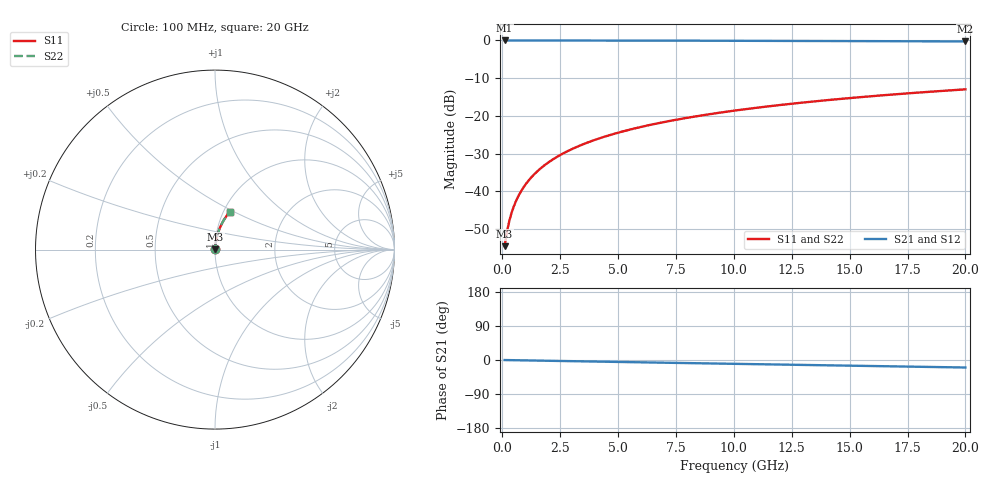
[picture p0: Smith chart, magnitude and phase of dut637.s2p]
! Touchstone file exported from HFSS 2026.1.0
!  File:  C:/ffzhzh/LocalFiles/Ansys_Project_Files/temp_train_BSMRDL_637_1783016706_46388.aedt
!  Generated:  02:26:34 AM Jul  3, 2026
!  Design:  BSMRDL
!  Project:  temp_train_BSMRDL_637_1783016706_46388
! Variables:
!  h_bsmrdl = 4.19um
!  h_ox = 20um
!  h_rdl = 5um
!  h_sub = 80um
!  h_tmrdl = 5um
!  h_tsv = 80um
!  h_via = 3um
!  l_bsmrdl = 234.82um
!  l_sub = 634.82um
!  l_tmrdl = 200um
!  m_sub = 200um
!  pitch = 47.25um
!  r_tsv = 6um
!  s_tmrdl = 10um
!  w_bsmrdl = 16.09um
!  w_sub = 500um
!  w_tmrdl = 12um
!  x_tsv_center1 = 206um
!  x_tsv_center2 = 456.91um
!  x_tsv_center3 = 668.91um
!  x_tsv_center4 = 919.82um
!  x_tsv_center5 = 1131.82um
!  x_tsv_center6 = 1382.73um
# GHz S MA R 50.000000
! Terminal data exported
! Port[1] = BSM_RDL1_1_T1
! Port[2] = BSM_RDL1_1_T2
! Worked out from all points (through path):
!   200 points, 100 MHz to 20 GHz, reference 50 ohm
!   highest |S21| = -0.01 dB at 100 MHz (marker M1); lowest = -0.3 dB at 20 GHz (marker M2)
!   group delay of S21, straight-line fit = 2.75 ps
!   lowest |S11| = -54.5 dB at 100 MHz (marker M3), VSWR 1.00, Z = 50.1 + j0.128 ohm
!   |S11| at or under -10 dB: start of sweep to end of sweep
!   |S22| runs from -54.5 to -13.0 dB; largest |S21 - S12| = 4.9e-15
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0.1  0.001881 42.6  0.9986 -0.1  0.9986 -0.1  0.001881 42.6
! Gamma 0 0 0 0
! Port Impedance 50 0 50 0
0.2  0.002901 60.4  0.9986 -0.2  0.9986 -0.2  0.002901 60.4
0.3  0.004031 68.3  0.9985 -0.3  0.9985 -0.3  0.004031 68.3
0.4  0.005189 72.7  0.9985 -0.4  0.9985 -0.4  0.005189 72.7
0.5  0.006361 75.5  0.9984 -0.5  0.9984 -0.5  0.006361 75.5
0.6  0.00754 77.5  0.9984 -0.6  0.9984 -0.6  0.00754 77.5
0.8  0.009916 79.9  0.9983 -0.8  0.9983 -0.8  0.009916 79.9
1.1  0.0135 81.9  0.9982 -1.1  0.9982 -1.1  0.0135 81.9
1.5  0.01831 83.1  0.9981 -1.6  0.9981 -1.6  0.01831 83.1
1.8  0.02191 83.5  0.998 -1.9  0.998 -1.9  0.02191 83.5
2.1  0.02551 83.7  0.9978 -2.2  0.9978 -2.2  0.02551 83.7
2.7  0.03269 83.7  0.9975 -2.8  0.9975 -2.8  0.03269 83.7
3.5  0.04222 83.4  0.9969 -3.6  0.9969 -3.6  0.04222 83.4
4.2  0.0505 82.9  0.9963 -4.3  0.9963 -4.3  0.0505 82.9
5  0.0599 82.3  0.9955 -5.1  0.9955 -5.1  0.0599 82.3
5.9  0.07039 81.6  0.9946 -6.0  0.9946 -6.0  0.07039 81.6
6.8  0.0808 80.8  0.9935 -6.9  0.9935 -6.9  0.0808 80.8
8.3  0.09798 79.4  0.9915 -8.4  0.9915 -8.4  0.09798 79.4
10.1  0.1183 77.8  0.9889 -10.2  0.9889 -10.2  0.1183 77.8
13.4  0.1549 74.8  0.9832 -13.5  0.9832 -13.5  0.1549 74.8
16.7  0.1904 71.7  0.9764 -16.7  0.9764 -16.7  0.1904 71.7
20  0.2247 68.7  0.9687 -19.8  0.9687 -19.8  0.2247 68.7
